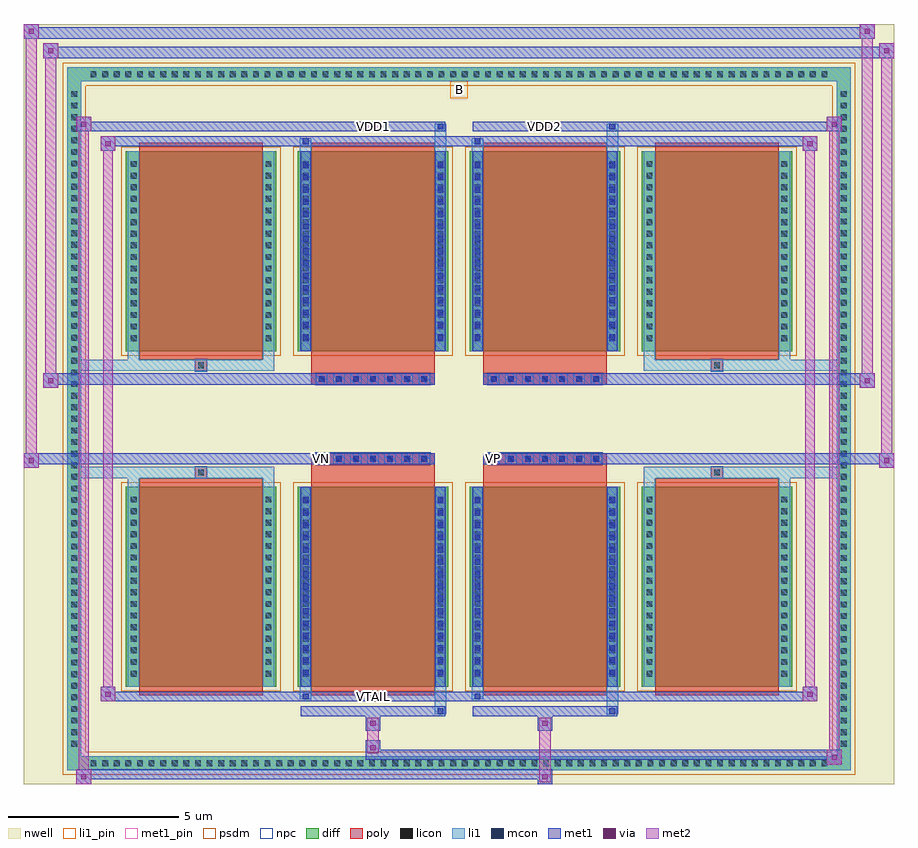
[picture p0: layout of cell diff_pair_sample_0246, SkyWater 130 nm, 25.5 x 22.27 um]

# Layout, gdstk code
import gdstk
lib = gdstk.Library(unit=1e-6, precision=5e-09)
def R(c, l, rs):  # rectangles x0, y0, x1, y1
    for r in rs: c.add(gdstk.rectangle(r[:2], r[2:], *l))
def A(c, l, x, y, w, h, nx, ny, dx, dy):  # array of equal rectangles
    R(c, l, [(x+i*dx, y+j*dy, x+i*dx+w, y+j*dy+h) for i in range(nx) for j in range(ny)])
def P(c, l, *ps):  # polygons
    for p in ps: c.add(gdstk.Polygon(p, *l))
nwell = (64, 20)
diff = (65, 20)
poly = (66, 20)
licon = (66, 44)
li1_pin = (67, 16)
li1 = (67, 20)
mcon = (67, 44)
met1_pin = (68, 16)
met1 = (68, 20)
via = (68, 44)
met2 = (69, 20)
psdm = (94, 20)
npc = (95, 20)

diff_pair_sample_0246 = lib.new_cell('diff_pair_sample_0246')
R(diff_pair_sample_0246, nwell, [(-12.75,-10.7,12.75,11.57), (-10.07,-8.89,-0.01,-0.805), (0.01,-8.89,10.07,-0.805), (-10.07,0.805,-0.01,8.89), (0.01,0.805,10.07,8.89)])
A(diff_pair_sample_0246, diff, -10.915, -10.3, 0.41, 0.41, 64, 2, 0.34, 20.19)
A(diff_pair_sample_0246, diff, -11.48, -9.725, 0.41, 0.41, 1, 57, 0, 0.34)
A(diff_pair_sample_0246, diff, 11.07, -9.725, 0.41, 0.41, 1, 57, 0, 0.34)
A(diff_pair_sample_0246, diff, -9.76, -7.845, 4.4, 5.86, 4, 2, 5.04, 9.83)
R(diff_pair_sample_0246, diff, [(-10.915,-10.3,10.915,-9.89), (-11.48,-9.725,-11.07,9.725), (11.07,-9.725,11.48,9.725), (-10.915,9.89,10.915,10.3)])
P(diff_pair_sample_0246, diff, [(11.48,10.3),(-11.48,10.3),(-11.48,-9.89),(-11.07,-9.89),(-11.07,9.89),(11.07,9.89),(11.07,-9.89),(-11.07,-9.89),(-11.48,-9.89),(-11.48,-10.3),(11.48,-10.3)])
A(diff_pair_sample_0246, poly, -9.37, -8.095, 3.62, 6.36, 4, 2, 5.04, 9.83)
A(diff_pair_sample_0246, poly, -4.185, -1.335, 0.33, 0.33, 7, 2, 0.5, 2.34)
A(diff_pair_sample_0246, poly, 0.855, -1.335, 0.33, 0.33, 7, 2, 0.5, 2.34)
R(diff_pair_sample_0246, poly, [(-7.725,-1.735,-7.395,-1.405), (-7.725,-1.735,-7.395,-1.405), (-4.33,-1.735,-0.71,-1.335), (0.71,-1.735,4.33,-1.335), (7.395,-1.735,7.725,-1.405), (7.395,-1.735,7.725,-1.405), (-4.33,-1.335,-0.71,-1.005), (0.71,-1.335,4.33,-1.005), (-4.33,1.005,-0.71,1.335), (0.71,1.005,4.33,1.335), (-4.33,1.335,-0.71,1.735), (0.71,1.335,4.33,1.735), (-7.725,1.405,-7.395,1.735), (-7.725,1.405,-7.395,1.735), (7.395,1.405,7.725,1.735), (7.395,1.405,7.725,1.735)])
A(diff_pair_sample_0246, licon, -10.795, -10.18, 0.17, 0.17, 64, 2, 0.34, 20.19)
A(diff_pair_sample_0246, licon, -11.36, -9.605, 0.17, 0.17, 1, 57, 0, 0.34)
A(diff_pair_sample_0246, licon, 11.19, -9.605, 0.17, 0.17, 1, 57, 0, 0.34)
A(diff_pair_sample_0246, licon, -9.62, -7.55, 0.17, 0.17, 1, 16, 0, 0.34)
A(diff_pair_sample_0246, licon, -5.67, -7.55, 0.17, 0.17, 1, 16, 0, 0.34)
A(diff_pair_sample_0246, licon, -4.58, -7.55, 0.17, 0.17, 1, 16, 0, 0.34)
A(diff_pair_sample_0246, licon, -0.63, -7.55, 0.17, 0.17, 1, 16, 0, 0.34)
A(diff_pair_sample_0246, licon, 0.46, -7.55, 0.17, 0.17, 1, 16, 0, 0.34)
A(diff_pair_sample_0246, licon, 4.41, -7.55, 0.17, 0.17, 1, 16, 0, 0.34)
A(diff_pair_sample_0246, licon, 5.5, -7.55, 0.17, 0.17, 1, 16, 0, 0.34)
A(diff_pair_sample_0246, licon, 9.45, -7.55, 0.17, 0.17, 1, 16, 0, 0.34)
A(diff_pair_sample_0246, licon, -4.105, -1.255, 0.17, 0.17, 7, 2, 0.5, 2.34)
A(diff_pair_sample_0246, licon, 0.935, -1.255, 0.17, 0.17, 7, 2, 0.5, 2.34)
A(diff_pair_sample_0246, licon, -9.62, 2.28, 0.17, 0.17, 1, 16, 0, 0.34)
A(diff_pair_sample_0246, licon, -5.67, 2.28, 0.17, 0.17, 1, 16, 0, 0.34)
A(diff_pair_sample_0246, licon, -4.58, 2.28, 0.17, 0.17, 1, 16, 0, 0.34)
A(diff_pair_sample_0246, licon, -0.63, 2.28, 0.17, 0.17, 1, 16, 0, 0.34)
A(diff_pair_sample_0246, licon, 0.46, 2.28, 0.17, 0.17, 1, 16, 0, 0.34)
A(diff_pair_sample_0246, licon, 4.41, 2.28, 0.17, 0.17, 1, 16, 0, 0.34)
A(diff_pair_sample_0246, licon, 5.5, 2.28, 0.17, 0.17, 1, 16, 0, 0.34)
A(diff_pair_sample_0246, licon, 9.45, 2.28, 0.17, 0.17, 1, 16, 0, 0.34)
R(diff_pair_sample_0246, licon, [(-7.645,-1.655,-7.475,-1.485), (7.475,-1.655,7.645,-1.485), (-7.645,1.485,-7.475,1.655), (7.475,1.485,7.645,1.655)])
R(diff_pair_sample_0246, li1_pin, [(-0.25,9.39,0.25,9.89)])
A(diff_pair_sample_0246, li1, -10.875, -10.26, 0.33, 0.33, 64, 2, 0.34, 20.19)
A(diff_pair_sample_0246, li1, -11.44, -9.685, 0.33, 0.33, 1, 57, 0, 0.34)
A(diff_pair_sample_0246, li1, 11.11, -9.685, 0.33, 0.33, 1, 57, 0, 0.34)
A(diff_pair_sample_0246, li1, -9.7, -7.63, 0.33, 0.33, 1, 16, 0, 0.34)
A(diff_pair_sample_0246, li1, -5.75, -7.63, 0.33, 0.33, 1, 16, 0, 0.34)
A(diff_pair_sample_0246, li1, -4.66, -7.63, 0.33, 0.33, 1, 16, 0, 0.34)
A(diff_pair_sample_0246, li1, -0.71, -7.63, 0.33, 0.33, 1, 16, 0, 0.34)
A(diff_pair_sample_0246, li1, 0.38, -7.63, 0.33, 0.33, 1, 16, 0, 0.34)
A(diff_pair_sample_0246, li1, 4.33, -7.63, 0.33, 0.33, 1, 16, 0, 0.34)
A(diff_pair_sample_0246, li1, 5.42, -7.63, 0.33, 0.33, 1, 16, 0, 0.34)
A(diff_pair_sample_0246, li1, 9.37, -7.63, 0.33, 0.33, 1, 16, 0, 0.34)
A(diff_pair_sample_0246, li1, -4.58, -7.52, 0.17, 0.17, 1, 15, 0, 0.36)
A(diff_pair_sample_0246, li1, -0.63, -7.52, 0.17, 0.17, 1, 15, 0, 0.36)
A(diff_pair_sample_0246, li1, 0.46, -7.52, 0.17, 0.17, 1, 15, 0, 0.36)
A(diff_pair_sample_0246, li1, 4.41, -7.52, 0.17, 0.17, 1, 15, 0, 0.36)
A(diff_pair_sample_0246, li1, -4.185, -1.335, 0.33, 0.33, 7, 2, 0.5, 2.34)
A(diff_pair_sample_0246, li1, 0.855, -1.335, 0.33, 0.33, 7, 2, 0.5, 2.34)
A(diff_pair_sample_0246, li1, -9.7, 2.2, 0.33, 0.33, 1, 16, 0, 0.34)
A(diff_pair_sample_0246, li1, -5.75, 2.2, 0.33, 0.33, 1, 16, 0, 0.34)
A(diff_pair_sample_0246, li1, -4.66, 2.2, 0.33, 0.33, 1, 16, 0, 0.34)
A(diff_pair_sample_0246, li1, -0.71, 2.2, 0.33, 0.33, 1, 16, 0, 0.34)
A(diff_pair_sample_0246, li1, 0.38, 2.2, 0.33, 0.33, 1, 16, 0, 0.34)
A(diff_pair_sample_0246, li1, 4.33, 2.2, 0.33, 0.33, 1, 16, 0, 0.34)
A(diff_pair_sample_0246, li1, 5.42, 2.2, 0.33, 0.33, 1, 16, 0, 0.34)
A(diff_pair_sample_0246, li1, 9.37, 2.2, 0.33, 0.33, 1, 16, 0, 0.34)
A(diff_pair_sample_0246, li1, -4.58, 2.31, 0.17, 0.17, 1, 15, 0, 0.36)
A(diff_pair_sample_0246, li1, -0.63, 2.31, 0.17, 0.17, 1, 15, 0, 0.36)
A(diff_pair_sample_0246, li1, 0.46, 2.31, 0.17, 0.17, 1, 15, 0, 0.36)
A(diff_pair_sample_0246, li1, 4.41, 2.31, 0.17, 0.17, 1, 15, 0, 0.36)
R(diff_pair_sample_0246, li1, [(-11.48,-10.3,-11.07,-9.89), (-11.48,-10.3,-11.07,-9.89), (-11.07,-10.3,11.07,-9.89), (11.07,-10.3,11.48,-9.89), (11.07,-10.3,11.48,-9.89), (-11.48,-9.89,-11.07,9.89), (11.07,-9.89,11.48,9.89), (-0.71,-8.65,-0.38,-7.845), (-0.63,-8.65,-0.46,-8.48), (4.33,-8.65,4.66,-7.845), (4.41,-8.65,4.58,-8.48), (-4.66,-8.22,-4.33,-7.845), (-4.58,-8.22,-4.41,-8.05), (0.38,-8.22,0.71,-7.845), (0.46,-8.22,0.63,-8.05), (-9.7,-7.845,-9.37,-1.985), (-5.75,-7.845,-5.42,-1.985), (-4.66,-7.845,-4.33,-1.985), (-0.71,-7.845,-0.38,-1.985), (0.38,-7.845,0.71,-1.985), (4.33,-7.845,4.66,-1.985), (5.42,-7.845,5.75,-1.985), (9.37,-7.845,9.7,-1.985), (-4.58,-7.52,-4.41,-2.31), (-0.63,-7.52,-0.46,-2.31), (0.46,-7.52,0.63,-2.31), (4.41,-7.52,4.58,-2.31), (-9.7,-1.985,-9.37,-1.405), (-5.75,-1.985,-5.42,-1.405), (5.42,-1.985,5.75,-1.405), (9.37,-1.985,9.7,-1.405), (-11.48,-1.735,-7.725,-1.405), (-9.7,-1.735,-7.725,-1.405), (-7.725,-1.735,-7.395,-1.405), (-7.395,-1.735,-5.42,-1.405), (5.42,-1.735,7.395,-1.405), (7.395,-1.735,7.725,-1.405), (7.395,-1.735,11.48,-1.405), (7.725,-1.735,9.7,-1.405), (-11.48,1.405,-7.725,1.735), (-9.7,1.405,-7.725,1.735), (-9.7,1.405,-9.37,1.985), (-7.725,1.405,-7.395,1.735), (-7.395,1.405,-5.42,1.735), (-5.75,1.405,-5.42,1.985), (5.42,1.405,7.395,1.735), (5.42,1.405,5.75,1.985), (7.395,1.405,7.725,1.735), (7.395,1.405,11.48,1.735), (7.725,1.405,9.7,1.735), (9.37,1.405,9.7,1.985), (-9.7,1.985,-9.37,7.845), (-5.75,1.985,-5.42,7.845), (-4.66,1.985,-4.33,7.845), (-0.71,1.985,-0.38,7.845), (0.38,1.985,0.71,7.845), (4.33,1.985,4.66,7.845), (5.42,1.985,5.75,7.845), (9.37,1.985,9.7,7.845), (-4.58,2.31,-4.41,7.52), (-0.63,2.31,-0.46,7.52), (0.46,2.31,0.63,7.52), (4.41,2.31,4.58,7.52), (-4.66,7.845,-4.33,8.22), (-0.71,7.845,-0.38,8.65), (0.38,7.845,0.71,8.22), (4.33,7.845,4.66,8.65), (-4.58,8.05,-4.41,8.22), (0.46,8.05,0.63,8.22), (-0.63,8.48,-0.46,8.65), (4.41,8.48,4.58,8.65), (-11.48,9.89,-11.07,10.3), (-11.48,9.89,-11.07,10.3), (-11.07,9.89,11.07,10.3), (11.07,9.89,11.48,10.3), (11.07,9.89,11.48,10.3)])
A(diff_pair_sample_0246, mcon, -4.58, -7.52, 0.17, 0.17, 1, 15, 0, 0.36)
A(diff_pair_sample_0246, mcon, -0.63, -7.52, 0.17, 0.17, 1, 15, 0, 0.36)
A(diff_pair_sample_0246, mcon, 0.46, -7.52, 0.17, 0.17, 1, 15, 0, 0.36)
A(diff_pair_sample_0246, mcon, 4.41, -7.52, 0.17, 0.17, 1, 15, 0, 0.36)
A(diff_pair_sample_0246, mcon, -4.105, -1.255, 0.17, 0.17, 7, 2, 0.5, 2.34)
A(diff_pair_sample_0246, mcon, 0.935, -1.255, 0.17, 0.17, 7, 2, 0.5, 2.34)
A(diff_pair_sample_0246, mcon, -4.58, 2.31, 0.17, 0.17, 1, 15, 0, 0.36)
A(diff_pair_sample_0246, mcon, -0.63, 2.31, 0.17, 0.17, 1, 15, 0, 0.36)
A(diff_pair_sample_0246, mcon, 0.46, 2.31, 0.17, 0.17, 1, 15, 0, 0.36)
A(diff_pair_sample_0246, mcon, 4.41, 2.31, 0.17, 0.17, 1, 15, 0, 0.36)
R(diff_pair_sample_0246, mcon, [(-0.63,-8.65,-0.46,-8.48), (4.41,-8.65,4.58,-8.48), (-4.58,-8.22,-4.41,-8.05), (0.46,-8.22,0.63,-8.05), (-4.58,8.05,-4.41,8.22), (0.46,8.05,0.63,8.22), (-0.63,8.48,-0.46,8.65), (4.41,8.48,4.58,8.65)])
R(diff_pair_sample_0246, met1_pin, [(-2.655,-8.26,-2.385,-7.99), (-4.155,-1.295,-3.885,-1.025), (0.885,-1.295,1.155,-1.025), (-2.655,8.44,-2.385,8.71), (2.385,8.44,2.655,8.71)])
A(diff_pair_sample_0246, met1, -4.64, -7.58, 0.29, 0.29, 1, 15, 0, 0.36)
A(diff_pair_sample_0246, met1, -0.69, -7.58, 0.29, 0.29, 1, 15, 0, 0.36)
A(diff_pair_sample_0246, met1, 0.4, -7.58, 0.29, 0.29, 1, 15, 0, 0.36)
A(diff_pair_sample_0246, met1, 4.35, -7.58, 0.29, 0.29, 1, 15, 0, 0.36)
A(diff_pair_sample_0246, met1, -4.165, -1.315, 0.29, 0.29, 7, 2, 0.5, 2.34)
A(diff_pair_sample_0246, met1, 0.875, -1.315, 0.29, 0.29, 7, 2, 0.5, 2.34)
A(diff_pair_sample_0246, met1, -4.64, 2.25, 0.29, 0.29, 1, 15, 0, 0.36)
A(diff_pair_sample_0246, met1, -0.69, 2.25, 0.29, 0.29, 1, 15, 0, 0.36)
A(diff_pair_sample_0246, met1, 0.4, 2.25, 0.29, 0.29, 1, 15, 0, 0.36)
A(diff_pair_sample_0246, met1, 4.35, 2.25, 0.29, 0.29, 1, 15, 0, 0.36)
R(diff_pair_sample_0246, met1, [(-11.21,-10.7,-10.78,-10.27), (2.305,-10.7,2.735,-10.27), (-11.21,-10.56,2.735,-10.27), (10.78,-10.13,11.21,-9.7), (-2.735,-9.99,11.21,-9.7), (-2.735,-9.85,-2.305,-9.42), (-2.735,-9.14,-2.305,-8.71), (2.305,-9.14,2.735,-8.71), (-4.64,-8.71,-0.4,-8.42), (-0.69,-8.71,-0.4,-8.42), (0.4,-8.71,4.64,-8.42), (4.35,-8.71,4.64,-8.42), (-10.5,-8.28,-10.07,-7.85), (-10.5,-8.28,-4.64,-7.99), (-4.64,-8.28,-4.35,-7.99), (-4.64,-8.28,-0.4,-7.99), (-0.4,-8.28,0.4,-7.99), (0.4,-8.28,0.69,-7.99), (0.4,-8.28,4.64,-7.99), (4.64,-8.28,10.5,-7.99), (10.07,-8.28,10.5,-7.85), (-4.64,-7.845,-4.35,-1.985), (-0.69,-7.845,-0.4,-1.985), (0.4,-7.845,0.69,-1.985), (4.35,-7.845,4.64,-1.985), (-12.75,-1.435,-12.32,-1.005), (12.32,-1.435,12.75,-1.005), (-12.75,-1.335,-0.71,-1.005), (-4.33,-1.335,-0.71,-1.005), (0.71,-1.335,4.33,-1.005), (0.71,-1.335,12.75,-1.005), (-12.18,0.905,-11.75,1.335), (11.75,0.905,12.18,1.335), (-12.18,1.005,-4.33,1.335), (-4.33,1.005,-0.71,1.335), (0.71,1.005,4.33,1.335), (4.33,1.005,12.18,1.335), (-4.64,1.985,-4.35,7.845), (-0.69,1.985,-0.4,7.845), (0.4,1.985,0.69,7.845), (4.35,1.985,4.64,7.845), (-10.5,7.85,-10.07,8.28), (10.07,7.85,10.5,8.28), (-10.5,7.99,-4.64,8.28), (-4.64,7.99,-4.35,8.28), (-4.64,7.99,-0.4,8.28), (-0.4,7.99,0.4,8.28), (0.4,7.99,0.69,8.28), (0.4,7.99,4.64,8.28), (4.64,7.99,10.5,8.28), (-11.21,8.42,-10.78,8.85), (-11.21,8.42,-4.64,8.71), (-4.64,8.42,-0.4,8.71), (-0.69,8.42,-0.4,8.71), (0.4,8.42,4.64,8.71), (4.35,8.42,4.64,8.71), (4.64,8.42,11.21,8.71), (10.78,8.42,11.21,8.85), (-12.18,10.57,-11.75,11), (-12.18,10.57,-10.07,10.9), (-10.07,10.57,10.07,10.9), (10.07,10.57,12.75,10.9), (12.32,10.57,12.75,11), (-12.75,11.14,-12.32,11.57), (-12.75,11.14,-10.07,11.47), (-10.07,11.14,10.07,11.47), (10.07,11.14,12.18,11.47), (11.75,11.14,12.18,11.57)])
R(diff_pair_sample_0246, via, [(-11.07,-10.56,-10.92,-10.41), (2.445,-10.56,2.595,-10.41), (10.92,-9.99,11.07,-9.84), (-2.595,-9.71,-2.445,-9.56), (-2.595,-9,-2.445,-8.85), (2.445,-9,2.595,-8.85), (-10.36,-8.14,-10.21,-7.99), (10.21,-8.14,10.36,-7.99), (-12.61,-1.295,-12.46,-1.145), (12.46,-1.295,12.61,-1.145), (-12.04,1.045,-11.89,1.195), (11.89,1.045,12.04,1.195), (-10.36,7.99,-10.21,8.14), (10.21,7.99,10.36,8.14), (-11.07,8.56,-10.92,8.71), (10.92,8.56,11.07,8.71), (-12.04,10.71,-11.89,10.86), (12.46,10.71,12.61,10.86), (-12.61,11.28,-12.46,11.43), (11.89,11.28,12.04,11.43)])
R(diff_pair_sample_0246, met2, [(-11.21,-10.7,-10.78,-10.27), (-11.14,-10.7,-10.85,8.85), (-10.85,-10.7,-10.78,-10.27), (-11.16,-10.65,-10.83,-10.32), (2.355,-10.65,2.685,-10.32), (2.355,-10.32,2.685,-9.09), (10.78,-10.13,11.21,-9.7), (10.85,-10.13,11.14,8.85), (11.14,-10.13,11.21,-9.7), (10.83,-10.08,11.16,-9.75), (-2.685,-9.8,-2.355,-9.47), (-2.685,-9.47,-2.355,-9.09), (-2.685,-9.09,-2.355,-8.76), (2.355,-9.09,2.685,-8.76), (-10.5,-8.28,-10.07,-7.85), (-10.43,-8.28,-10.14,8.28), (-10.14,-8.28,-10.07,-7.85), (10.07,-8.28,10.5,-7.85), (10.14,-8.28,10.43,8.28), (10.43,-8.28,10.5,-7.85), (-10.45,-8.23,-10.12,-7.9), (10.12,-8.23,10.45,-7.9), (-12.75,-1.435,-12.32,-1.005), (-12.7,-1.435,-12.37,11.57), (-12.37,-1.435,-12.32,-1.005), (12.32,-1.435,12.75,-1.005), (12.37,-1.435,12.7,11), (12.7,-1.435,12.75,-1.005), (-12.7,-1.385,-12.37,-1.055), (12.37,-1.385,12.7,-1.055), (-12.18,0.905,-11.75,1.335), (-12.13,0.905,-11.8,11), (-11.8,0.905,-11.75,1.335), (11.75,0.905,12.18,1.335), (11.8,0.905,12.13,11.57), (12.13,0.905,12.18,1.335), (-12.13,0.955,-11.8,1.285), (11.8,0.955,12.13,1.285), (-10.5,7.85,-10.07,8.28), (-10.14,7.85,-10.07,8.28), (10.07,7.85,10.5,8.28), (10.43,7.85,10.5,8.28), (-10.45,7.9,-10.12,8.23), (10.12,7.9,10.45,8.23), (-11.21,8.42,-10.78,8.85), (-10.85,8.42,-10.78,8.85), (10.78,8.42,11.21,8.85), (11.14,8.42,11.21,8.85), (-11.16,8.47,-10.83,8.8), (10.83,8.47,11.16,8.8), (-12.18,10.57,-11.75,11), (-11.8,10.57,-11.75,11), (12.32,10.57,12.75,11), (12.7,10.57,12.75,11), (-12.13,10.62,-11.8,10.95), (12.37,10.62,12.7,10.95), (-12.75,11.14,-12.32,11.57), (-12.37,11.14,-12.32,11.57), (11.75,11.14,12.18,11.57), (12.13,11.14,12.18,11.57), (-12.7,11.19,-12.37,11.52), (11.8,11.19,12.13,11.52)])
A(diff_pair_sample_0246, psdm, -9.89, -7.975, 4.66, 6.12, 4, 2, 5.04, 9.83)
P(diff_pair_sample_0246, psdm, [(11.61,10.43),(-11.61,10.43),(-11.61,-9.76),(-10.94,-9.76),(-10.94,9.76),(10.94,9.76),(10.94,-9.76),(-10.94,-9.76),(-11.61,-9.76),(-11.61,-10.43),(11.61,-10.43)])
A(diff_pair_sample_0246, npc, -4.205, -1.355, 0.37, 0.37, 7, 2, 0.5, 2.34)
A(diff_pair_sample_0246, npc, 0.835, -1.355, 0.37, 0.37, 7, 2, 0.5, 2.34)
R(diff_pair_sample_0246, npc, [(-7.745,-1.755,-7.375,-1.385), (7.375,-1.755,7.745,-1.385), (-4.205,-1.355,-3.335,-0.985), (-4.205,-1.355,-3.335,-0.985), (-3.705,-1.355,-2.835,-0.985), (-3.705,-1.355,-2.835,-0.985), (-3.205,-1.355,-2.335,-0.985), (-3.205,-1.355,-2.335,-0.985), (-2.705,-1.355,-1.835,-0.985), (-2.705,-1.355,-1.835,-0.985), (-2.205,-1.355,-1.335,-0.985), (-2.205,-1.355,-1.335,-0.985), (-1.705,-1.355,-0.835,-0.985), (-1.705,-1.355,-0.835,-0.985), (0.835,-1.355,1.705,-0.985), (0.835,-1.355,1.705,-0.985), (1.335,-1.355,2.205,-0.985), (1.335,-1.355,2.205,-0.985), (1.835,-1.355,2.705,-0.985), (1.835,-1.355,2.705,-0.985), (2.335,-1.355,3.205,-0.985), (2.335,-1.355,3.205,-0.985), (2.835,-1.355,3.705,-0.985), (2.835,-1.355,3.705,-0.985), (3.335,-1.355,4.205,-0.985), (3.335,-1.355,4.205,-0.985), (-4.205,0.985,-3.335,1.355), (-4.205,0.985,-3.335,1.355), (-3.705,0.985,-2.835,1.355), (-3.705,0.985,-2.835,1.355), (-3.205,0.985,-2.335,1.355), (-3.205,0.985,-2.335,1.355), (-2.705,0.985,-1.835,1.355), (-2.705,0.985,-1.835,1.355), (-2.205,0.985,-1.335,1.355), (-2.205,0.985,-1.335,1.355), (-1.705,0.985,-0.835,1.355), (-1.705,0.985,-0.835,1.355), (0.835,0.985,1.705,1.355), (0.835,0.985,1.705,1.355), (1.335,0.985,2.205,1.355), (1.335,0.985,2.205,1.355), (1.835,0.985,2.705,1.355), (1.835,0.985,2.705,1.355), (2.335,0.985,3.205,1.355), (2.335,0.985,3.205,1.355), (2.835,0.985,3.705,1.355), (2.835,0.985,3.705,1.355), (3.335,0.985,4.205,1.355), (3.335,0.985,4.205,1.355), (-7.745,1.385,-7.375,1.755), (7.375,1.385,7.745,1.755)])
diff_pair_sample_0246.add(gdstk.Label('VTAIL', (-2.52,-8.125), layer=68, texttype=5))
diff_pair_sample_0246.add(gdstk.Label('VN', (-4.02,-1.16), layer=68, texttype=5))
diff_pair_sample_0246.add(gdstk.Label('VP', (1.02,-1.16), layer=68, texttype=5))
diff_pair_sample_0246.add(gdstk.Label('B', (0,9.64), layer=67, texttype=5))
diff_pair_sample_0246.add(gdstk.Label('VDD2', (2.52,8.575), layer=68, texttype=5))
diff_pair_sample_0246.add(gdstk.Label('VDD1', (-2.52,8.575), layer=68, texttype=5))

lib.write_gds('diff_pair_sample_0246.gds')
